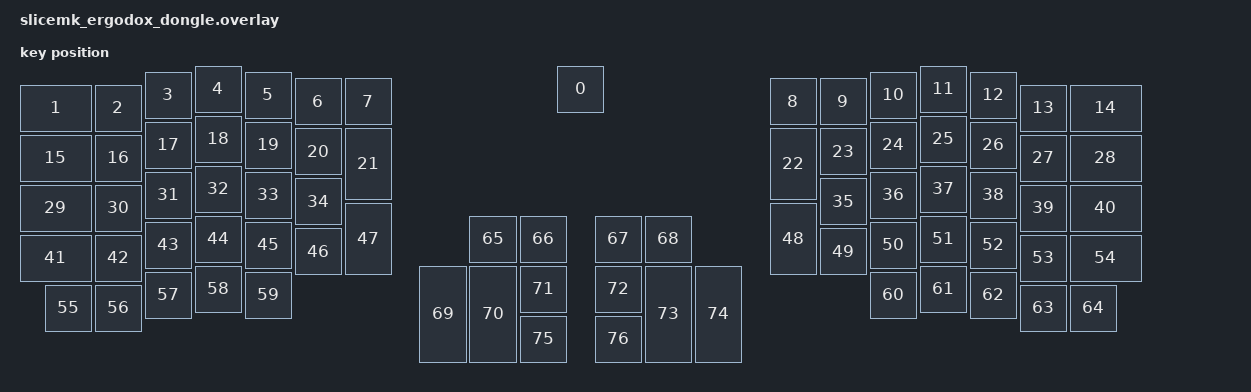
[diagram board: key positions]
#include <physical_layouts.dtsi>

/ {
	chosen {
		zmk,physical-layout = &physical_layout0;
	};

	physical_layout0: physical_layout_0 {
		compatible = "zmk,physical-layout";
		display-name = "ErgoDox";
		transform = <&default_transform>;

		keys  //                     w   h    x    y  rot   rx   ry
			= <&key_physical_attrs 100 100 1075    0    0    0    0>
			, <&key_physical_attrs 150 100    0   38    0    0    0>
			, <&key_physical_attrs 100 100  150   38    0    0    0>
			, <&key_physical_attrs 100 100  250   12    0    0    0>
			, <&key_physical_attrs 100 100  350    0    0    0    0>
			, <&key_physical_attrs 100 100  450   12    0    0    0>
			, <&key_physical_attrs 100 100  550   25    0    0    0>
			, <&key_physical_attrs 100 100  650   25    0    0    0>
			, <&key_physical_attrs 100 100 1500   25    0    0    0>
			, <&key_physical_attrs 100 100 1600   25    0    0    0>
			, <&key_physical_attrs 100 100 1700   12    0    0    0>
			, <&key_physical_attrs 100 100 1800    0    0    0    0>
			, <&key_physical_attrs 100 100 1900   12    0    0    0>
			, <&key_physical_attrs 100 100 2000   38    0    0    0>
			, <&key_physical_attrs 150 100 2100   38    0    0    0>
			, <&key_physical_attrs 150 100    0  138    0    0    0>
			, <&key_physical_attrs 100 100  150  138    0    0    0>
			, <&key_physical_attrs 100 100  250  112    0    0    0>
			, <&key_physical_attrs 100 100  350  100    0    0    0>
			, <&key_physical_attrs 100 100  450  112    0    0    0>
			, <&key_physical_attrs 100 100  550  125    0    0    0>
			, <&key_physical_attrs 100 150  650  125    0    0    0>
			, <&key_physical_attrs 100 150 1500  125    0    0    0>
			, <&key_physical_attrs 100 100 1600  125    0    0    0>
			, <&key_physical_attrs 100 100 1700  112    0    0    0>
			, <&key_physical_attrs 100 100 1800  100    0    0    0>
			, <&key_physical_attrs 100 100 1900  112    0    0    0>
			, <&key_physical_attrs 100 100 2000  138    0    0    0>
			, <&key_physical_attrs 150 100 2100  138    0    0    0>
			, <&key_physical_attrs 150 100    0  238    0    0    0>
			, <&key_physical_attrs 100 100  150  238    0    0    0>
			, <&key_physical_attrs 100 100  250  212    0    0    0>
			, <&key_physical_attrs 100 100  350  200    0    0    0>
			, <&key_physical_attrs 100 100  450  212    0    0    0>
			, <&key_physical_attrs 100 100  550  225    0    0    0>
			, <&key_physical_attrs 100 100 1600  225    0    0    0>
			, <&key_physical_attrs 100 100 1700  212    0    0    0>
			, <&key_physical_attrs 100 100 1800  200    0    0    0>
			, <&key_physical_attrs 100 100 1900  212    0    0    0>
			, <&key_physical_attrs 100 100 2000  238    0    0    0>
			, <&key_physical_attrs 150 100 2100  238    0    0    0>
			, <&key_physical_attrs 150 100    0  338    0    0    0>
			, <&key_physical_attrs 100 100  150  338    0    0    0>
			, <&key_physical_attrs 100 100  250  312    0    0    0>
			, <&key_physical_attrs 100 100  350  300    0    0    0>
			, <&key_physical_attrs 100 100  450  312    0    0    0>
			, <&key_physical_attrs 100 100  550  325    0    0    0>
			, <&key_physical_attrs 100 150  650  275    0    0    0>
			, <&key_physical_attrs 100 150 1500  275    0    0    0>
			, <&key_physical_attrs 100 100 1600  325    0    0    0>
			, <&key_physical_attrs 100 100 1700  312    0    0    0>
			, <&key_physical_attrs 100 100 1800  300    0    0    0>
			, <&key_physical_attrs 100 100 1900  312    0    0    0>
			, <&key_physical_attrs 100 100 2000  338    0    0    0>
			, <&key_physical_attrs 150 100 2100  338    0    0    0>
			, <&key_physical_attrs 100 100   50  438    0    0    0>
			, <&key_physical_attrs 100 100  150  438    0    0    0>
			, <&key_physical_attrs 100 100  250  412    0    0    0>
			, <&key_physical_attrs 100 100  350  400    0    0    0>
			, <&key_physical_attrs 100 100  450  412    0    0    0>
			, <&key_physical_attrs 100 100 1700  412    0    0    0>
			, <&key_physical_attrs 100 100 1800  400    0    0    0>
			, <&key_physical_attrs 100 100 1900  412    0    0    0>
			, <&key_physical_attrs 100 100 2000  438    0    0    0>
			, <&key_physical_attrs 100 100 2100  438    0    0    0>
			, <&key_physical_attrs 100 100  900  300    0    0    0>
			, <&key_physical_attrs 100 100 1000  300    0    0    0>
			, <&key_physical_attrs 100 100 1150  300    0    0    0>
			, <&key_physical_attrs 100 100 1250  300    0    0    0>
			, <&key_physical_attrs 100 200  800  400    0    0    0>
			, <&key_physical_attrs 100 200  900  400    0    0    0>
			, <&key_physical_attrs 100 100 1000  400    0    0    0>
			, <&key_physical_attrs 100 100 1150  400    0    0    0>
			, <&key_physical_attrs 100 200 1250  400    0    0    0>
			, <&key_physical_attrs 100 200 1350  400    0    0    0>
			, <&key_physical_attrs 100 100 1000  500    0    0    0>
			, <&key_physical_attrs 100 100 1150  500    0    0    0>
			;
	};
};
